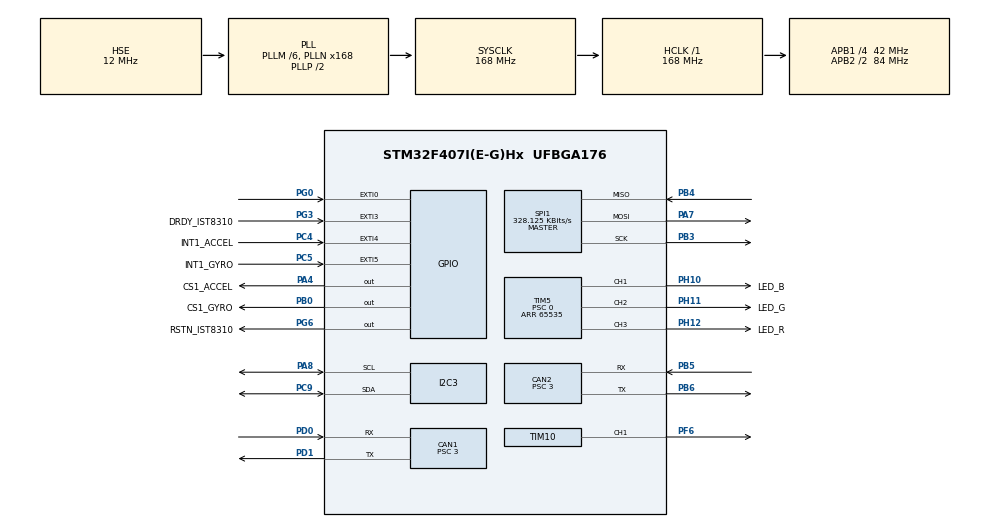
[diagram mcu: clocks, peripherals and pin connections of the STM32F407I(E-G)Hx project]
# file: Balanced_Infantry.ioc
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CAN1.BS1=CAN_BS1_10TQ
CAN1.BS2=CAN_BS2_3TQ
CAN1.CalculateBaudRate=1000000
CAN1.CalculateTimeBit=1000
CAN1.CalculateTimeQuantum=71.42857142857143
CAN1.Prescaler=3
CAN2.BS1=CAN_BS1_10TQ
CAN2.BS2=CAN_BS2_3TQ
CAN2.CalculateBaudRate=1000000
CAN2.CalculateTimeBit=1000
CAN2.CalculateTimeQuantum=71.42857142857143
CAN2.Prescaler=3
CAN2.SJW=CAN_SJW_1TQ
Dma.Request0=SPI1_RX
Dma.Request1=SPI1_TX
Dma.SPI1_RX.0.Direction=DMA_PERIPH_TO_MEMORY
Dma.SPI1_RX.0.FIFOMode=DMA_FIFOMODE_DISABLE
Dma.SPI1_RX.0.Instance=DMA2_Stream2
Dma.SPI1_RX.0.MemDataAlignment=DMA_MDATAALIGN_BYTE
Dma.SPI1_RX.0.MemInc=DMA_MINC_ENABLE
Dma.SPI1_RX.0.Mode=DMA_NORMAL
Dma.SPI1_RX.0.PeriphDataAlignment=DMA_PDATAALIGN_BYTE
Dma.SPI1_RX.0.PeriphInc=DMA_PINC_DISABLE
Dma.SPI1_RX.0.Priority=DMA_PRIORITY_VERY_HIGH
Dma.SPI1_TX.1.Direction=DMA_MEMORY_TO_PERIPH
Dma.SPI1_TX.1.FIFOMode=DMA_FIFOMODE_DISABLE
Dma.SPI1_TX.1.Instance=DMA2_Stream3
Dma.SPI1_TX.1.MemDataAlignment=DMA_MDATAALIGN_BYTE
Dma.SPI1_TX.1.MemInc=DMA_MINC_ENABLE
Dma.SPI1_TX.1.Mode=DMA_NORMAL
Dma.SPI1_TX.1.PeriphDataAlignment=DMA_PDATAALIGN_BYTE
Dma.SPI1_TX.1.PeriphInc=DMA_PINC_DISABLE
Dma.SPI1_TX.1.Priority=DMA_PRIORITY_HIGH
I2C3.I2C_Mode=I2C_Fast
Mcu.Family=STM32F4
Mcu.Name=STM32F407I(E-G)Hx
Mcu.Package=UFBGA176
NVIC.CAN1_RX0_IRQn=true\:6\:0\:true\:false\:true\:true\:true\:true
NVIC.CAN2_RX0_IRQn=true\:0\:0\:false\:false\:true\:true\:true\:true
NVIC.DMA2_Stream2_IRQn=true\:5\:0\:true\:false\:false\:false\:true\:true
NVIC.DMA2_Stream3_IRQn=true\:5\:0\:true\:false\:false\:false\:true\:true
NVIC.EXTI0_IRQn=true\:6\:0\:true\:false\:true\:true\:true\:true
NVIC.EXTI3_IRQn=true\:5\:0\:true\:false\:true\:true\:true\:true
NVIC.EXTI4_IRQn=true\:5\:0\:true\:false\:true\:true\:true\:true
NVIC.EXTI9_5_IRQn=true\:5\:0\:true\:false\:true\:true\:true\:true
NVIC.PriorityGroup=NVIC_PRIORITYGROUP_4
NVIC.TIM1_UP_TIM10_IRQn=true\:0\:0\:false\:false\:true\:true\:true\:true
NVIC.TIM8_UP_TIM13_IRQn=true\:0\:0\:false\:false\:true\:true\:true\:true
PA13.Mode=Serial_Wire
PA13.Signal=SYS_JTMS-SWDIO
PA14.Mode=Serial_Wire
PA14.Signal=SYS_JTCK-SWCLK
PA4.GPIO_Label=CS1_ACCEL
PA4.GPIO_PuPd=GPIO_PULLUP
PA4.GPIO_Speed=GPIO_SPEED_FREQ_HIGH
PA4.PinState=GPIO_PIN_SET
PA4.Signal=GPIO_Output
PA7.GPIO_PuPd=GPIO_PULLUP
PA7.Mode=Full_Duplex_Master
PA7.Signal=SPI1_MOSI
PA8.GPIO_Pu=GPIO_PULLUP
PA8.Mode=I2C
PA8.Signal=I2C3_SCL
PB0.GPIO_Label=CS1_GYRO
PB0.GPIO_PuPd=GPIO_PULLUP
PB0.GPIO_Speed=GPIO_SPEED_FREQ_HIGH
PB0.PinState=GPIO_PIN_SET
PB0.Signal=GPIO_Output
PB3.GPIO_PuPd=GPIO_PULLUP
PB3.Mode=Full_Duplex_Master
PB3.Signal=SPI1_SCK
PB4.GPIO_PuPd=GPIO_PULLUP
PB4.Mode=Full_Duplex_Master
PB4.Signal=SPI1_MISO
PB5.Mode=CAN_Activate
PB5.Signal=CAN2_RX
PB6.Mode=CAN_Activate
PB6.Signal=CAN2_TX
PC4.GPIO_Label=INT1_ACCEL
PC4.GPIO_ModeDefaultEXTI=GPIO_MODE_IT_FALLING
PC4.GPIO_PuPd=GPIO_PULLUP
PC4.Signal=GPXTI4
PC5.GPIO_Label=INT1_GYRO
PC5.GPIO_ModeDefaultEXTI=GPIO_MODE_IT_FALLING
PC5.GPIO_PuPd=GPIO_PULLUP
PC5.Signal=GPXTI5
PC9.GPIO_Pu=GPIO_PULLUP
PC9.Mode=I2C
PC9.Signal=I2C3_SDA
PD0.Mode=CAN_Activate
PD0.Signal=CAN1_RX
PD1.Mode=CAN_Activate
PD1.Signal=CAN1_TX
PF6.GPIO_PuPd=GPIO_PULLUP
PF6.GPIO_Speed=GPIO_SPEED_FREQ_HIGH
PF6.Signal=S_TIM10_CH1
PG0.GPIO_ModeDefaultEXTI=GPIO_MODE_IT_FALLING
PG0.GPIO_PuPd=GPIO_PULLUP
PG0.Signal=GPXTI0
PG3.GPIO_Label=DRDY_IST8310
PG3.GPIO_ModeDefaultEXTI=GPIO_MODE_IT_FALLING
PG3.GPIO_PuPd=GPIO_PULLUP
PG3.Signal=GPXTI3
PG6.GPIO_Label=RSTN_IST8310
PG6.GPIO_PuPd=GPIO_PULLUP
PG6.GPIO_Speed=GPIO_SPEED_FREQ_MEDIUM
PG6.PinState=GPIO_PIN_SET
PG6.Signal=GPIO_Output
PH0-OSC_IN.Mode=HSE-External-Oscillator
PH0-OSC_IN.Signal=RCC_OSC_IN
PH1-OSC_OUT.Mode=HSE-External-Oscillator
PH1-OSC_OUT.Signal=RCC_OSC_OUT
PH10.GPIO_Label=LED_B
PH10.GPIO_PuPd=GPIO_PULLUP
PH10.GPIO_Speed=GPIO_SPEED_FREQ_HIGH
PH10.Signal=S_TIM5_CH1
PH11.GPIO_Label=LED_G
PH11.GPIO_PuPd=GPIO_PULLUP
PH11.GPIO_Speed=GPIO_SPEED_FREQ_HIGH
PH11.Signal=S_TIM5_CH2
PH12.GPIO_Label=LED_R
PH12.GPIO_PuPd=GPIO_PULLUP
PH12.GPIO_Speed=GPIO_SPEED_FREQ_HIGH
PH12.Signal=S_TIM5_CH3
ProjectManager.HeapSize=0x2000
ProjectManager.StackSize=0x2000
ProjectManager.TargetToolchain=MDK-ARM V5
RCC.48MHZClocksFreq_Value=48000000
RCC.AHBFreq_Value=168000000
RCC.APB1CLKDivider=RCC_HCLK_DIV4
RCC.APB1Freq_Value=42000000
RCC.APB1TimFreq_Value=84000000
RCC.APB2CLKDivider=RCC_HCLK_DIV2
RCC.APB2Freq_Value=84000000
RCC.APB2TimFreq_Value=168000000
RCC.CortexFreq_Value=168000000
RCC.HCLKFreq_Value=168000000
RCC.HSE_VALUE=12000000
RCC.HSI_VALUE=16000000
RCC.LSE_VALUE=32768
RCC.PLLM=6
RCC.PLLN=168
RCC.PLLQ=7
RCC.PLLSourceVirtual=RCC_PLLSOURCE_HSE
RCC.RCC_RTC_Clock_SourceVirtual=RCC_RTCCLKSOURCE_HSE_DIV30
RCC.RCC_RTC_Clock_Source_FROM_HSE=RCC_RTCCLKSOURCE_HSE_DIV30
RCC.SYSCLKFreq_VALUE=168000000
RCC.SYSCLKSource=RCC_SYSCLKSOURCE_PLLCLK
RCC.VCOOutputFreq_Value=336000000
SH.S_TIM10_CH1.0=TIM10_CH1,PWM Generation1 CH1
SH.S_TIM5_CH1.0=TIM5_CH1,PWM Generation1 CH1
SH.S_TIM5_CH2.0=TIM5_CH2,PWM Generation2 CH2
SH.S_TIM5_CH3.0=TIM5_CH3,PWM Generation3 CH3
SPI1.BaudRatePrescaler=SPI_BAUDRATEPRESCALER_256
SPI1.CLKPhase=SPI_PHASE_2EDGE
SPI1.CLKPolarity=SPI_POLARITY_HIGH
SPI1.CalculateBaudRate=328.125 KBits/s
SPI1.Direction=SPI_DIRECTION_2LINES
SPI1.Mode=SPI_MODE_MASTER
SPI1.VirtualType=VM_MASTER
TIM1.Period=100
TIM1.Prescaler=8400
TIM10.Channel=TIM_CHANNEL_1
TIM10.Period=4999
TIM5.Channel-PWM\ Generation1\ CH1=TIM_CHANNEL_1
TIM5.Channel-PWM\ Generation2\ CH2=TIM_CHANNEL_2
TIM5.Channel-PWM\ Generation3\ CH3=TIM_CHANNEL_3
TIM5.Period=65535
TIM5.Prescaler=0
TIM8.Period=999
TIM8.Prescaler=167
VP_TIM10_VS_ClockSourceINT.Mode=Enable_Timer
VP_TIM1_VS_ClockSourceINT.Mode=Internal
VP_TIM5_VS_ClockSourceINT.Mode=Internal
VP_TIM8_VS_ClockSourceINT.Mode=Internal
board=custom

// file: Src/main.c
/* USER CODE BEGIN Header */
/**
  ******************************************************************************
  * @file           : main.c
  * @brief          : Main program body
  ******************************************************************************
  * @attention
  *
  * <h2><center>&copy; Copyright (c) 2021 STMicroelectronics.
  * All rights reserved.</center></h2>
  *
  * This software component is licensed by ST under BSD 3-Clause license,
  * the "License"; You may not use this file except in compliance with the
  * License. You may obtain a copy of the License at:
  *                        opensource.org/licenses/BSD-3-Clause
  *
  ******************************************************************************
  */
/* USER CODE END Header */
#include "main.h"
#include "can.h"
#include "dma.h"
#include "i2c.h"
#include "spi.h"
#include "tim.h"
#include "gpio.h"

/* USER CODE BEGIN Includes */
#include "bsp_delay.h"
#include "bsp_can.h"
#include "INS_task.h"
#include "CAN_receive.h"
#include "chassis_tast.h"
#include "LQR.h"

/* USER CODE END Includes */

void SystemClock_Config(void);

/* USER CODE BEGIN 0 */
#include <stdio.h>
//#include "Balanced_Infantry.h"
#include "rtwtypes.h"
#include "pm01_api.h"
/* Flags for taskOverrun */
//static boolean_T OverrunFlags[1] = { false, };

/* Number of auto reload timer rotation computed */
//static volatile uint32_t autoReloadTimerLoopVal_S = 1;

/* Remaining number of auto reload timer rotation to do */
//volatile uint32_t remainAutoReloadTimerLoopVal_S = 1;

/* USER CODE END 0 */

int main(void)
{

  /* MCU Configuration--------------------------------------------------------*/

  /* Reset of all peripherals, Initializes the Flash interface and the Systick. */

  HAL_Init();

  /* Configure the system clock */
  SystemClock_Config();

  /* Initialize all configured peripherals */
  MX_GPIO_Init();
  MX_DMA_Init();
  MX_SPI1_Init();
  MX_TIM5_Init();
  MX_I2C3_Init();
  MX_TIM10_Init();
  MX_CAN1_Init();
  MX_CAN2_Init();
  MX_TIM1_Init();
  MX_TIM8_Init();
  /* USER CODE BEGIN 2 */
    delay_init();
	  can_filter_init();
	  HAL_TIM_Base_Start(&htim1);
	  INS_INIT();
	  HAL_Delay(1000);
	  HAL_TIM_Base_Start_IT(&htim8);

  /* Use Systick arm timer and interrupt to tick step() functions of the Simulink model.
     使用 Systick arm 计时器和中断来标记 Simulink 模型的 step() 函数。	*/
  /* Fundamental sample time is set to: '0.001000000' s */
	/*基本采样时间设置为：'0.001000000' s*/
//  if (SysTick_Config((uint32_t)(SystemCoreClock/1000.0))) {
//    autoReloadTimerLoopVal_S = 1;
//    do {
//      autoReloadTimerLoopVal_S++;
//    } while ((uint32_t)(SystemCoreClock/1000.0)/autoReloadTimerLoopVal_S >
//             SysTick_LOAD_RELOAD_Msk);

//    SysTick_Config((uint32_t)(SystemCoreClock/1000.0)/autoReloadTimerLoopVal_S);
//  }

  /* Set number of loop to do. */
//  remainAutoReloadTimerLoopVal_S = autoReloadTimerLoopVal_S;

//  {
//    int i;
//    for (i = 0; i < 1; i++) {
//      OverrunFlags[i] = false;
//    }
//  }

  /* Initialize model */
//  Balanced_Infantry_initialize();
 chassis_init();
 chassis_move.INS_update_sign=0;
// CAN_mp9025_cmd_chassis_PID_readin_R();
// CAN_mp9025_cmd_chassis_PID_readin_L();
  /* USER CODE END 2 */

  /* Infinite loop */
  /* USER CODE BEGIN WHILE */
  /* Infinite loop */
  /* Real time from systickHandler */
  while (1) {
    /*Process tasks every solver time*/
		chassis_feedback_update(&chassis_move);
		//出现过陀螺仪数据发散现象用判断来同步
		if(chassis_move.INS_update_sign==1)
	  {
			INS_Calcu();//计算陀螺仪数据
			chassis_task();
			chassis_move.INS_update_sign=0;
		}

  }
    /* USER CODE END WHILE */

}

void SystemClock_Config(void)
{
  RCC_OscInitTypeDef RCC_OscInitStruct = {0};
  RCC_ClkInitTypeDef RCC_ClkInitStruct = {0};

  /** Configure the main internal regulator output voltage
  */
  __HAL_RCC_PWR_CLK_ENABLE();
  __HAL_PWR_VOLTAGESCALING_CONFIG(PWR_REGULATOR_VOLTAGE_SCALE1);
  /** Initializes the RCC Oscillators according to the specified parameters
  * in the RCC_OscInitTypeDef structure.
  */
  RCC_OscInitStruct.OscillatorType = RCC_OSCILLATORTYPE_HSE;
  RCC_OscInitStruct.HSEState = RCC_HSE_ON;
  RCC_OscInitStruct.PLL.PLLState = RCC_PLL_ON;
  RCC_OscInitStruct.PLL.PLLSource = RCC_PLLSOURCE_HSE;
  RCC_OscInitStruct.PLL.PLLM = 6;
  RCC_OscInitStruct.PLL.PLLN = 168;
  RCC_OscInitStruct.PLL.PLLP = RCC_PLLP_DIV2;
  RCC_OscInitStruct.PLL.PLLQ = 7;
  if (HAL_RCC_OscConfig(&RCC_OscInitStruct) != HAL_OK)
  {
    Error_Handler();
  }
  /** Initializes the CPU, AHB and APB buses clocks
  */
  RCC_ClkInitStruct.ClockType = RCC_CLOCKTYPE_HCLK|RCC_CLOCKTYPE_SYSCLK
                              |RCC_CLOCKTYPE_PCLK1|RCC_CLOCKTYPE_PCLK2;
  RCC_ClkInitStruct.SYSCLKSource = RCC_SYSCLKSOURCE_PLLCLK;
  RCC_ClkInitStruct.AHBCLKDivider = RCC_SYSCLK_DIV1;
  RCC_ClkInitStruct.APB1CLKDivider = RCC_HCLK_DIV4;
  RCC_ClkInitStruct.APB2CLKDivider = RCC_HCLK_DIV2;

  if (HAL_RCC_ClockConfig(&RCC_ClkInitStruct, FLASH_LATENCY_5) != HAL_OK)
  {
    Error_Handler();
  }
}

void Error_Handler(void)
{
  __disable_irq();
  while (1)
  {
  }
}

/************************ (C) COPYRIGHT STMicroelectronics *****END OF FILE****/
